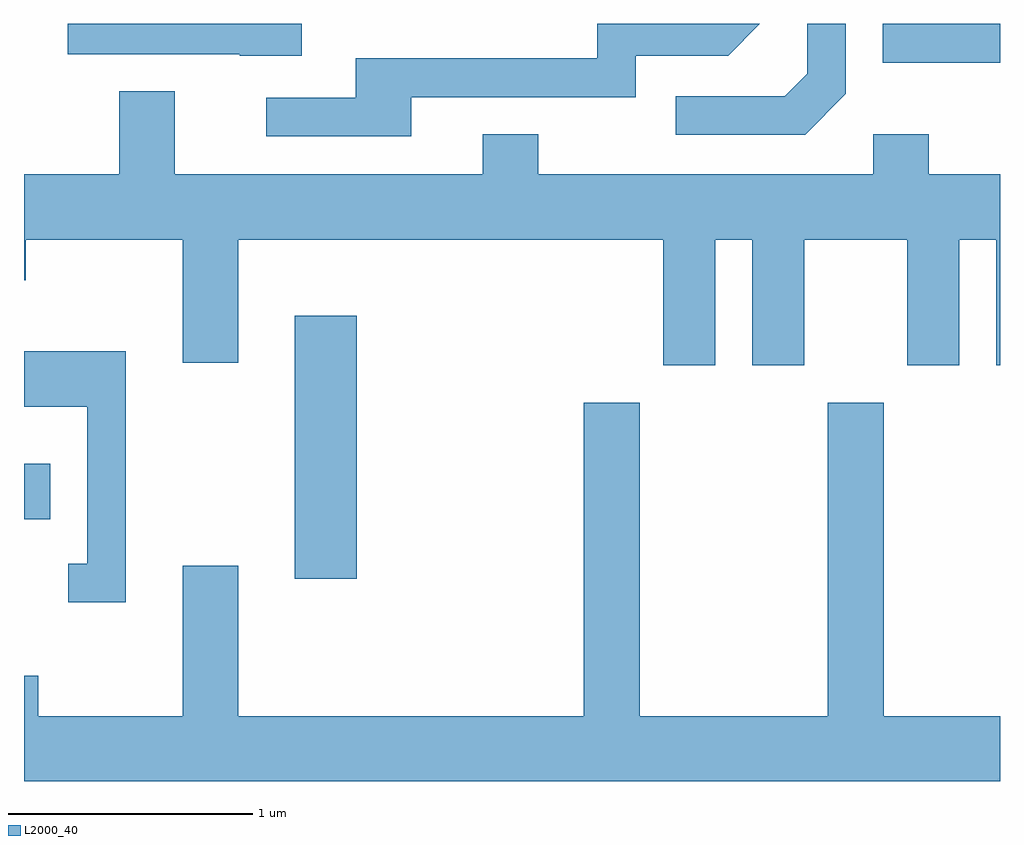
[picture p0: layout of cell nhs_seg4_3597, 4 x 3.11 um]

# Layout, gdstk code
import gdstk
lib = gdstk.Library(unit=1e-6, precision=1e-09)
def R(c, l, rs):  # rectangles x0, y0, x1, y1
    for r in rs: c.add(gdstk.rectangle(r[:2], r[2:], *l))
def P(c, l, *ps):  # polygons
    for p in ps: c.add(gdstk.Polygon(p, *l))
L2000_40 = (2000, 40)

nhs_seg4_3597 = lib.new_cell('nhs_seg4_3597')
R(nhs_seg4_3597, L2000_40, [(290.721,1377.706,290.974,1378.784), (289.611,1377.951,289.719,1378.179), (293.131,1379.821,293.611,1379.982)])
P(nhs_seg4_3597, L2000_40, [(291.199,1379.681),(292.119,1379.681),(292.119,1379.851),(292.497,1379.851),(292.627,1379.982),(291.961,1379.982),(291.961,1379.839),(290.971,1379.839),(290.971,1379.679),(290.603,1379.679),(290.603,1379.521),(291.199,1379.521)],
  [(290.749,1379.982),(289.791,1379.982),(289.791,1379.856),(290.495,1379.856),(290.495,1379.851),(290.749,1379.851)],
  [(292.979,1379.694),(292.979,1379.982),(292.821,1379.982),(292.821,1379.777),(292.729,1379.684),(292.283,1379.684),(292.283,1379.526),(292.812,1379.526)],
  [(292.444,1379.096),(292.596,1379.096),(292.596,1378.581),(292.809,1378.581),(292.809,1379.096),(293.231,1379.096),(293.231,1378.581),(293.444,1378.581),(293.444,1379.096),(293.596,1379.096),(293.596,1378.581),(293.611,1378.581),(293.611,1379.364),(293.319,1379.364),(293.319,1379.529),(293.091,1379.529),(293.091,1379.364),(291.719,1379.364),(291.719,1379.529),(291.491,1379.529),(291.491,1379.364),(290.229,1379.364),(290.229,1379.704),(290.001,1379.704),(290.001,1379.364),(289.611,1379.364),(289.611,1378.931),(289.619,1378.931),(289.619,1379.096),(290.261,1379.096),(290.261,1378.591),(290.489,1378.591),(290.489,1379.096),(292.231,1379.096),(292.231,1378.581),(292.444,1378.581)],
  [(290.029,1378.639),(289.611,1378.639),(289.611,1378.411),(289.871,1378.411),(289.871,1377.769),(289.793,1377.769),(289.793,1377.611),(290.029,1377.611)],
  [(293.611,1377.144),(293.134,1377.144),(293.134,1378.429),(292.906,1378.429),(292.906,1377.144),(292.134,1377.144),(292.134,1378.429),(291.906,1378.429),(291.906,1377.144),(290.489,1377.144),(290.489,1377.759),(290.261,1377.759),(290.261,1377.144),(289.669,1377.144),(289.669,1377.309),(289.611,1377.309),(289.611,1376.876),(293.611,1376.876)])

lib.write_gds('nhs_seg4_3597.gds')
